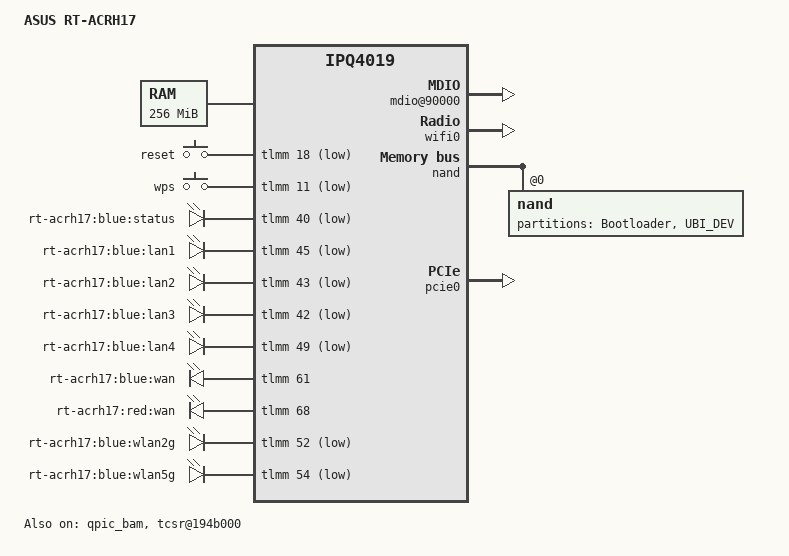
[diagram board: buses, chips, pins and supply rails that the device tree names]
/* SPDX-License-Identifier: GPL-2.0-or-later OR MIT
 *
 * Copyright (c) 2018, Chen Minqiang <ptpt52@gmail.com>
 * Copyright (c) 2019, Christian Lamparter <chunkeey@gmail.com>
 * Copyright (c) 2019, Hao Dong <halbertdong@gmail.com>
 *
 */

#include "qcom-ipq4019.dtsi"
#include <dt-bindings/gpio/gpio.h>
#include <dt-bindings/input/input.h>
#include <dt-bindings/soc/qcom,tcsr.h>

/ {
	model = "ASUS RT-ACRH17";
	compatible = "asus,rt-acrh17", "qcom,ipq4019";

	memory {
		device_type = "memory";
		reg = <0x80000000 0x10000000>;
	};

	aliases {
		led-boot = &power;
		led-failsafe = &power;
		led-running = &power;
		led-upgrade = &power;
	};

	soc {
		mdio@90000 {
			status = "okay";
		};

		ess-psgmii@98000 {
			status = "okay";
		};

		tcsr@1949000 {
			compatible = "qcom,tcsr";
			reg = <0x1949000 0x100>;
			qcom,wifi_glb_cfg = <TCSR_WIFI_GLB_CFG>;
		};

		tcsr@194b000 {
			/* select hostmode */
			compatible = "qcom,tcsr";
			reg = <0x194b000 0x100>;
			qcom,usb-hsphy-mode-select = <TCSR_USB_HSPHY_HOST_MODE>;
			status = "ok";
		};

		ess_tcsr@1953000 {
			compatible = "qcom,tcsr";
			reg = <0x1953000 0x1000>;
			qcom,ess-interface-select = <TCSR_ESS_PSGMII>;
		};

		tcsr@1957000 {
			compatible = "qcom,tcsr";
			reg = <0x1957000 0x100>;
			qcom,wifi_noc_memtype_m0_m2 = <TCSR_WIFI_NOC_MEMTYPE_M0_M2>;
		};

		spi_0: spi@78b5000 {
			status = "disabled";
		};

		wifi0: wifi@a000000 {
			compatible = "qcom,ath10k";
			status = "ok";
			reg = <0x00010000 0 0 0 0>;
			qcom,ath10k-calibration-variant = "ASUS-RT-ACRH17";
		};

		wifi1: wifi@a800000 {
			status = "disabled";
		};

		ess-switch@c000000 {
			status = "okay";
		};

		edma@c080000 {
			status = "okay";
		};
	};

	keys {
		compatible = "gpio-keys";

		reset {
			label = "reset";
			gpios = <&tlmm 18 GPIO_ACTIVE_LOW>;
			linux,code = <KEY_RESTART>;
		};

		wps {
			label = "wps";
			gpios = <&tlmm 11 GPIO_ACTIVE_LOW>;
			linux,code = <KEY_WPS_BUTTON>;
		};
	};

	leds {
		compatible = "gpio-leds";

		power: status {
			label = "rt-acrh17:blue:status";
			gpios = <&tlmm 40 GPIO_ACTIVE_LOW>;
		};

		lan1 {
			label = "rt-acrh17:blue:lan1";
			gpios = <&tlmm 45 GPIO_ACTIVE_LOW>;
		};

		lan2 {
			label = "rt-acrh17:blue:lan2";
			gpios = <&tlmm 43 GPIO_ACTIVE_LOW>;
		};

		lan3 {
			label = "rt-acrh17:blue:lan3";
			gpios = <&tlmm 42 GPIO_ACTIVE_LOW>;
		};

		lan4 {
			label = "rt-acrh17:blue:lan4";
			gpios = <&tlmm 49 GPIO_ACTIVE_LOW>;
		};

		wan_blue {
			label = "rt-acrh17:blue:wan";
			gpios = <&tlmm 61 GPIO_ACTIVE_HIGH>;
		};

		wan_red {
			label = "rt-acrh17:red:wan";
			gpios = <&tlmm 68 GPIO_ACTIVE_HIGH>;
		};

		wlan2g {
			label = "rt-acrh17:blue:wlan2g";
			gpios = <&tlmm 52 GPIO_ACTIVE_LOW>;
		};

		wlan5g {
			label = "rt-acrh17:blue:wlan5g";
			gpios = <&tlmm 54 GPIO_ACTIVE_LOW>;
		};
	};
};

&nand {
	pinctrl-0 = <&nand_pins>;
	pinctrl-names = "default";
	status = "okay";

	nand@0 {
		partitions {
			compatible = "fixed-partitions";
			#address-cells = <1>;
			#size-cells = <1>;

			partition@0 {
				label = "Bootloader";
				reg = <0x000000000000 0x000000400000>;
				read-only;
			};
			partition@0x400000 {
				label = "UBI_DEV";
				reg = <0x000000400000 0x000007C00000>;
			};
		};
	};
};

&pcie0 {
	status = "okay";
	perst-gpio = <&tlmm 38 GPIO_ACTIVE_LOW>;
	wake-gpio = <&tlmm 50 GPIO_ACTIVE_LOW>;
	clkreq-gpio = <&tlmm 39 GPIO_ACTIVE_LOW>;
};

&qpic_bam {
	status = "okay";
};

&nand_pins {
	pullups {
		pins = "gpio53", "gpio58",
			 "gpio59";
		function = "qpic";
		bias-pull-up;
	};

	pulldowns {
		pins = "gpio55", "gpio56",
			 "gpio57", "gpio60",
			 "gpio62", "gpio63", "gpio64",
			 "gpio65", "gpio66", "gpio67",
			 "gpio69";
		function = "qpic";
		bias-pull-down;
	};
};
